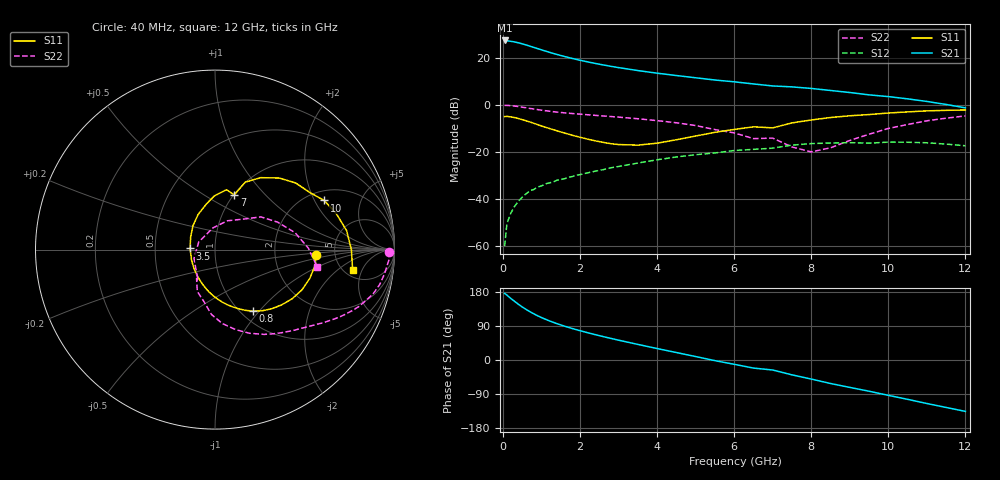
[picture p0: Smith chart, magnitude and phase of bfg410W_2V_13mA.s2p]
! Filename: 213bfg410.001
! BFG410W Field B1
! V1=8.846E-001V,V2=2.000E+000V, I1=2.085E-004A, I2=1.299E-002A
# GHz  S  MA  R 50
!  S11  S21  S12  S22
!Freq(GHz)  Mag  Ang  Mag  Ang  Mag  Ang  Mag  Ang
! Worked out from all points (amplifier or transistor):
!   44 points, 40 MHz to 12 GHz, reference 50 ohm
!   highest |S21| = 27.3 dB at 40 MHz (marker M1)
!   |S21| within 3 dB of that: start of sweep to 807.7 MHz
!   unconditionally stable (mu >= 1): start of sweep to 42.92 MHz; 1.574 GHz to end of sweep
!   at 700 MHz: K = 0.60, MSG = 30.6 dB, |S12| = -36.5 dB
!   at 2.4 GHz: K = 1.17, MAG = 20.4 dB, |S12| = -28.2 dB
!   at 12 GHz: K = 1.51, MAG = 3.8 dB, |S12| = -17.4 dB
!   S11 on the Smith chart (normalised r, x): 40 MHz: 3.53, -0.31; 800 MHz: 1.13, -0.93; 3.5 GHz: 0.76, +0.01; 7 GHz: 1.01, +0.68; 10 GHz: 2.43, +2.40; 12 GHz: 5.96, -3.35
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0.04  0.561 -3.1  23.08 175.9  0.001 73.7  0.968 -0.6
0.1  0.566 -8.5  22.77 171.2  0.003 89.2  0.97 -3.6
0.2  0.552 -16.9  22.14 162.5  0.005 80.8  0.954 -8.2
0.3  0.534 -24.8  21.47 154.7  0.007 78.0  0.938 -12.0
0.4  0.51 -32.4  20.57 146.9  0.009 74.3  0.914 -15.8
0.5  0.482 -39.8  19.55 139.8  0.011 71.2  0.886 -18.8
0.6  0.456 -46.4  18.5 133.3  0.013 69.1  0.862 -21.6
0.8  0.403 -58.3  16.42 121.7  0.016 65.7  0.81 -26.4
1.1  0.333 -73.1  13.74 107.5  0.021 62.2  0.747 -32.1
1.4  0.28 -86.0  11.64 95.9  0.025 60.3  0.698 -36.8
1.8  0.225 -102.3  9.576 83.0  0.03 58.2  0.65 -42.5
2.2  0.186 -118.5  8.09 71.9  0.036 55.9  0.612 -48.2
2.8  0.149 -146.1  6.524 57.0  0.046 51.5  0.562 -56.9
3.5  0.139 177.2  5.305 41.1  0.058 44.6  0.504 -67.6
4.5  0.181 132.8  4.161 19.7  0.078 32.1  0.414 -84.3
5.5  0.26 100.2  3.343 -1.7  0.095 16.7  0.297 -101.9
6.5  0.34 79.1  2.759 -21.3  0.113 2.4  0.191 -122.5
7  0.323 70.6  2.501 -26.4  0.12 5.9  0.196 -118.8
8.5  0.536 48.1  2.006 -62.0  0.154 -31.7  0.122 95.0
10  0.667 24.3  1.488 -93.3  0.161 -61.4  0.314 35.5
10.5  0.705 16.4  1.333 -103.8  0.16 -71.7  0.381 23.7
12  0.775 -8.3  0.859 -135.6  0.135 -108.9  0.579 -9.7
